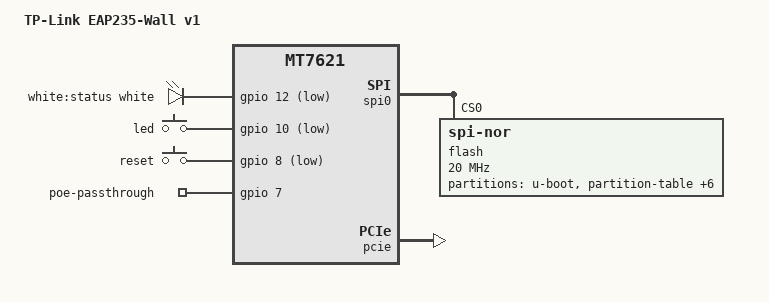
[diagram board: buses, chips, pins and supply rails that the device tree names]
// SPDX-License-Identifier: GPL-2.0-or-later

#include "mt7621.dtsi"

#include <dt-bindings/gpio/gpio.h>
#include <dt-bindings/input/input.h>
#include <dt-bindings/leds/common.h>

/ {
	compatible = "tplink,eap235-wall-v1", "mediatek,mt7621-soc";
	model = "TP-Link EAP235-Wall v1";

	aliases {
		label-mac-device = &gmac0;
		led-boot = &led_status;
		led-failsafe = &led_status;
		led-running = &led_status;
		led-upgrade = &led_status;
	};

	leds {
		compatible = "gpio-leds";

		led_status: status {
			label = "white:status";
			color = <LED_COLOR_ID_WHITE>;
			function = LED_FUNCTION_STATUS;
			gpios = <&gpio 12 GPIO_ACTIVE_LOW>;
		};
	};

	keys {
		compatible = "gpio-keys";

		led {
			label = "led";
			gpios = <&gpio 10 GPIO_ACTIVE_LOW>;
			linux,code = <KEY_LIGHTS_TOGGLE>;
		};

		reset {
			label = "reset";
			gpios = <&gpio 8 GPIO_ACTIVE_LOW>;
			linux,code = <KEY_RESTART>;
		};
	};

	gpio-export {
		compatible = "gpio-export";

		poe_passthrough {
			gpio-export,name = "poe-passthrough";
			gpio-export,output = <0>;
			gpios = <&gpio 7 GPIO_ACTIVE_HIGH>;
		};
	};
};

&spi0 {
	status = "okay";

	flash@0 {
		compatible = "jedec,spi-nor";
		reg = <0>;
		spi-max-frequency = <20000000>;

		partitions {
			compatible = "fixed-partitions";
			#address-cells = <1>;
			#size-cells = <1>;

			partition@0 {
				label = "u-boot";
				reg = <0x00000 0x80000>;
				read-only;
			};

			partition@80000 {
				label = "partition-table";
				reg = <0x80000 0x10000>;
				read-only;
			};

			info: partition@90000 {
				label = "product-info";
				reg = <0x90000 0x10000>;
				read-only;
			};

			partition@a0000 {
				compatible = "tplink,firmware";
				label = "firmware";
				reg = <0x0a0000 0xd20000>;
			};

			partition@dc0000 {
				label = "user-config";
				reg = <0xdc0000 0x030000>;
				read-only;
			};

			/* 0xdf0000 - 0xf30000 unused  */

			partition@f30000 {
				label = "mutil-log";
				reg = <0xf30000 0x080000>;
				read-only;
			};

			partition@fb0000 {
				label = "oops";
				reg = <0xfb0000 0x040000>;
				read-only;
			};

			radio: partition@ff0000 {
				label = "radio";
				reg = <0xff0000 0x010000>;
				read-only;
			};
		};
	};
};

&state_default {
	gpio {
		groups = "uart2", "uart3";
		function = "gpio";
	};
};

&pcie {
	status = "okay";
};

&pcie0 {
	wifi@0,0 {
		reg = <0x0000 0 0 0 0>;
		mediatek,mtd-eeprom = <&radio 0x0>;
		mtd-mac-address = <&info 0x8>;
	};
};

&pcie1 {
	wifi@0,0 {
		reg = <0x0000 0 0 0 0>;
		mediatek,mtd-eeprom = <&radio 0x8000>;
		ieee80211-freq-limit = <5000000 6000000>;
		mtd-mac-address = <&info 0x8>;
		mtd-mac-address-increment = <1>;
	};
};

&gmac0 {
	mtd-mac-address = <&info 0x8>;
};

&switch0 {
	ports {
		port@0 {
			status = "okay";
			label = "lan0";
		};

		port@1 {
			status = "okay";
			label = "lan3";
		};

		port@2 {
			status = "okay";
			label = "lan2";
		};

		port@3 {
			status = "okay";
			label = "lan1";
		};
	};
};
